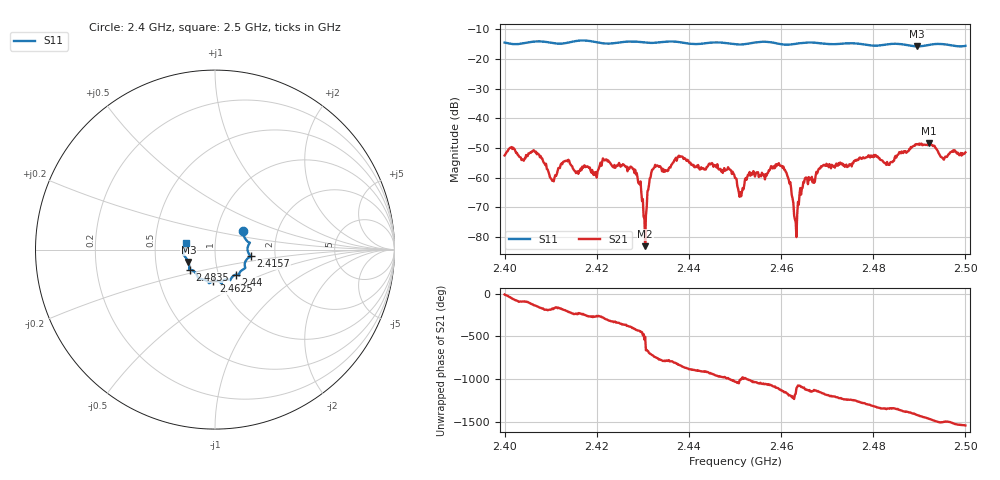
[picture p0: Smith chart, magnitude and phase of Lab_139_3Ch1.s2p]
# Hz S RI R 50
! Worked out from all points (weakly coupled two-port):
!   601 points, 2.4 GHz to 2.5 GHz, reference 50 ohm
!   highest |S21| = -48.44 dB at 2.492 GHz (marker M1); lowest = -83.1 dB at 2.4305 GHz (marker M2)
!   lowest |S11| = -15.7 dB at 2.4895 GHz (marker M3), VSWR 1.39, Z = 36.8 - j5.16 ohm
!   |S11| at or under -10 dB: start of sweep to end of sweep
!   S12 and S22 are empty: the file has one direction only
!   S11 on the Smith chart (normalised r, x): 2.4 GHz: 1.34, +0.29; 2.4157 GHz: 1.49, -0.11; 2.44 GHz: 1.21, -0.35; 2.4625 GHz: 0.92, -0.34; 2.4835 GHz: 0.74, -0.17; 2.5 GHz: 0.72, +0.05
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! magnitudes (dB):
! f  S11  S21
! 2.4 GHz  -14.5  -52.5
! 2.4067 GHz  -14.1  -51.4
! 2.4103 GHz  -14.6  -61.1
! 2.4157 GHz  -13.9  -58.0
! 2.4167 GHz  -13.7  -57.5
! 2.4278 GHz  -14.1  -57.1
! 2.4305 GHz  -14.5  -83.1
! 2.4318 GHz  -14.6  -58.3
! 2.4333 GHz  -14.4  -56.1
! 2.44 GHz  -14.8  -54.8
! 2.45 GHz  -15.0  -60.1
! 2.4513 GHz  -15.1  -66.3
! 2.4597 GHz  -14.9  -55.7
! 2.4625 GHz  -15.0  -67.0
! 2.4633 GHz  -14.8  -80.0
! 2.465 GHz  -14.5  -61.6
! 2.4667 GHz  -14.4  -59.7
! 2.4833 GHz  -15.0  -55.4
! 2.4835 GHz  -15.0  -55.7
! 2.4895 GHz  -15.7  -48.7
! 2.492 GHz  -15.3  -48.4
! 2.5 GHz  -15.6  -51.5
